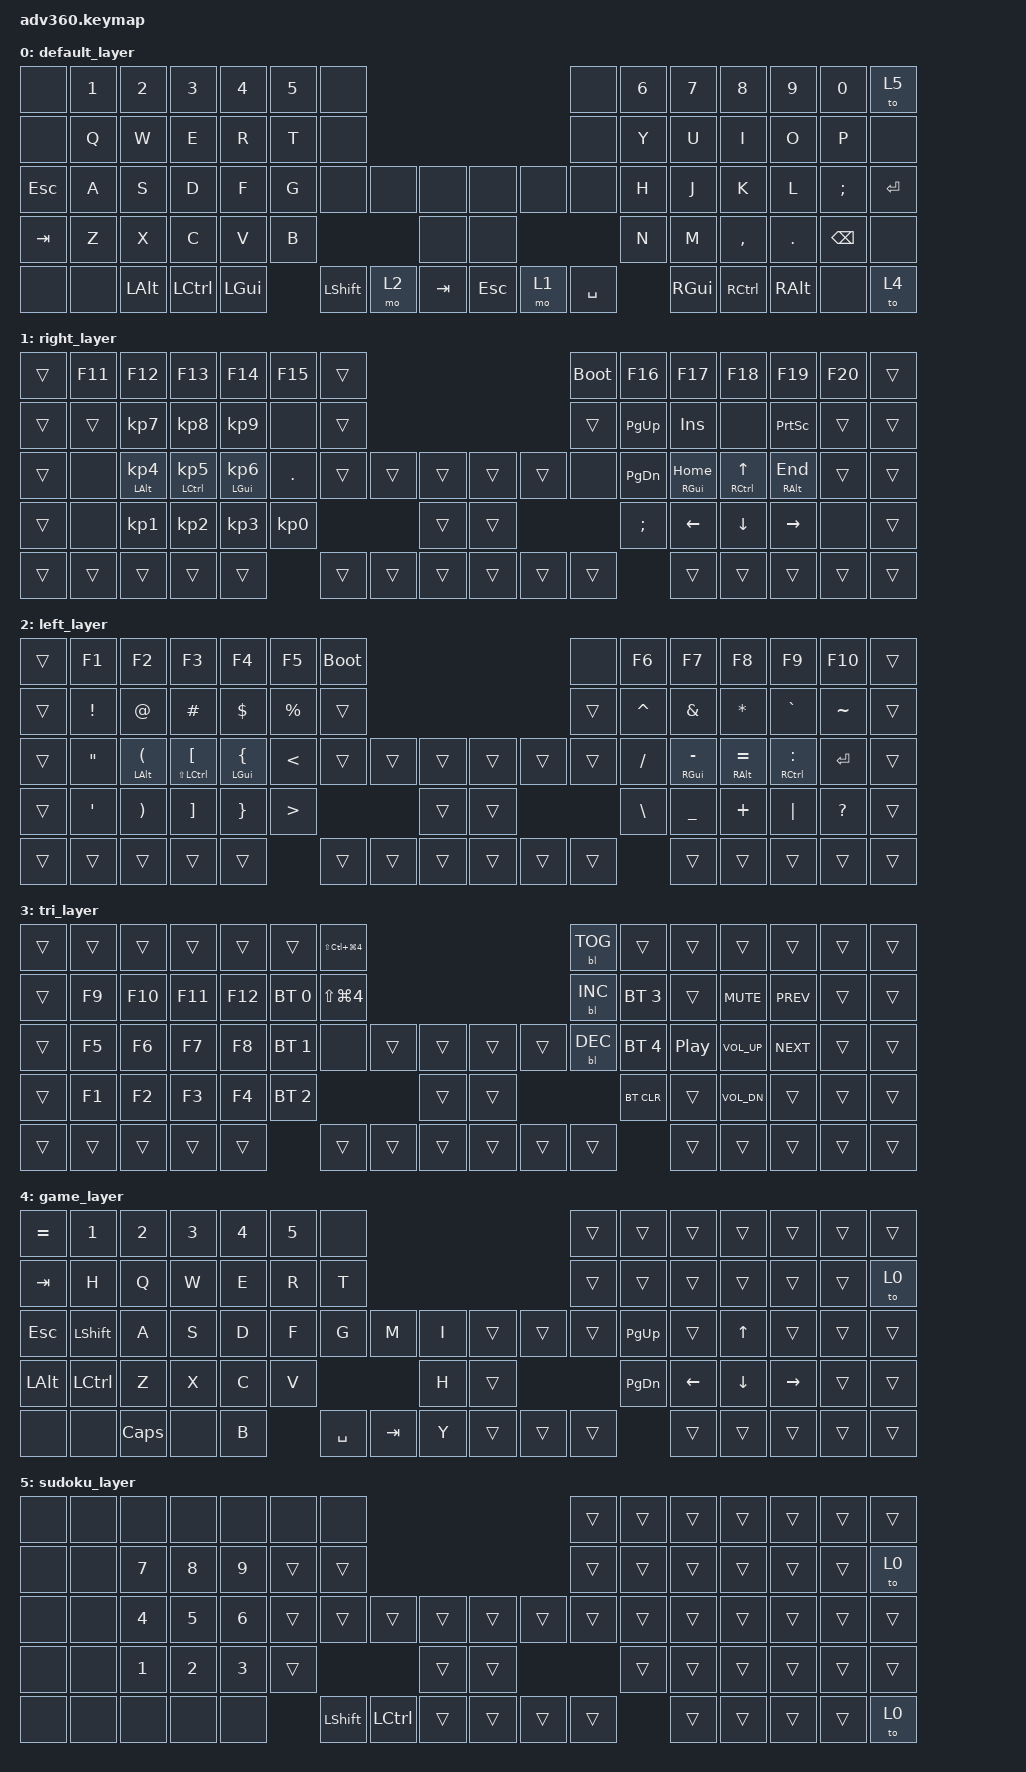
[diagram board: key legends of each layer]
#include <behaviors.dtsi>
#include <dt-bindings/zmk/backlight.h>
#include <dt-bindings/zmk/bt.h>
#include <dt-bindings/zmk/keys.h>

#define MAC 0
#define WIN 1
#define RIG 2
#define LEF 3
#define TRI 4
#define GME 5
#define SUD 6
#define MAC 0
#define WIN 1
#define RIG 2
#define LEF 3
#define TRI 4
#define GME 5

/ {
    behaviors {
        #include "macros.dtsi"
      #include "version.dtsi"
      #ifndef VERSION_MACRO

        macro_ver: macro_ver {
            compatible = "zmk,behavior-macro";
            label = "macro_version";
            #binding-cells = <0>;
            bindings = <&kp RET>;
        };

        #endif

        hmr: hmr {
            compatible = "zmk,behavior-hold-tap";
            label = "HMR";
            bindings = <&kp>, <&kp>;

            #binding-cells = <2>;
            tapping-term-ms = <750>;
            quick-tap-ms = <400>;
            flavor = "balanced";
            hold-trigger-key-positions = <0 1 2 3 4 5 6 14 15 16 17 18 19 20 28 29 30 31 32 33 34 35 36 46 47 48 49 50 51 52 60 61 62 63 64 65 66 67 37 38 53 68 69 70>;
            hold-trigger-on-release;
            require-prior-idle-ms = <125>;
        };

        hml: hml {
            compatible = "zmk,behavior-hold-tap";
            label = "HML";
            bindings = <&kp>, <&kp>;

            #binding-cells = <2>;
            tapping-term-ms = <750>;
            quick-tap-ms = <400>;
            flavor = "balanced";
            hold-trigger-key-positions = <7 8 9 10 11 12 13 21 22 23 24 25 26 27 38 39 40 41 42 43 44 45 54 55 56 57 58 59 69 70 71 72 73 74 75 35 36 37 38 52 53 66 67 68 69 65>;
            hold-trigger-on-release;
            require-prior-idle-ms = <125>;
        };
    };

    conditional_layers {
        compatible = "zmk,conditional-layers";

        tri_layer {
            if-layers = <2 1>;
            then-layer = <3>;
        };
    };

    macros {
    };

    keymap {
        compatible = "zmk,keymap";

        default_layer {
            bindings = <
&none       &kp N1  &kp N2        &kp N3            &kp N4        &kp N5  &none                                                  &none      &kp N6  &kp N7         &kp N8             &kp N9         &kp N0         &to 5
&none       &kp Q   &kp W         &kp E             &kp R         &kp T   &none                                                  &none      &kp Y   &kp U          &kp I              &kp O          &kp P          &none
&kp ESCAPE  &kp A   &kp S         &kp D             &kp F         &kp G   &none           &none  &none        &none       &none  &none      &kp H   &kp J          &kp K              &kp L          &kp SEMICOLON  &kp ENTER
&kp TAB     &kp Z   &kp X         &kp C             &kp V         &kp B                          &none        &none                         &kp N   &kp M          &kp COMMA          &kp DOT        &kp BACKSPACE  &none
&none       &none   &kp LEFT_ALT  &kp LEFT_CONTROL  &kp LEFT_GUI          &kp LEFT_SHIFT  &mo 2  &kp TAB      &kp ESCAPE  &mo 1  &kp SPACE          &kp RIGHT_GUI  &kp RIGHT_CONTROL  &kp RIGHT_ALT  &none          &to 4
            >;
        };

        right_layer {
            bindings = <
&trans  &kp F11  &kp F12                    &kp F13                        &kp F14                &kp F15          &trans                                      &bootloader  &kp F16        &kp F17         &kp F18                      &kp F19             &kp F20  &trans
&trans  &trans   &kp KP_NUMBER_7            &kp KP_NUMBER_8                &kp KP_NUMBER_9        &none            &trans                                      &trans       &kp PG_UP      &kp INSERT      &none                        &kp PRINTSCREEN     &trans   &trans
&trans  &none    &hml LEFT_ALT KP_NUMBER_4  &hml LEFT_CONTROL KP_NUMBER_5  &hml LGUI KP_NUMBER_6  &kp PERIOD       &trans  &trans  &trans      &trans  &trans  &none        &kp PG_DN      &hmr RGUI HOME  &hmr RIGHT_CONTROL UP_ARROW  &hmr RIGHT_ALT END  &trans   &trans
&trans  &none    &kp KP_NUMBER_1            &kp KP_NUMBER_2                &kp KP_NUMBER_3        &kp KP_NUMBER_0                  &trans      &trans                       &kp SEMICOLON  &kp LEFT_ARROW  &kp DOWN_ARROW               &kp RIGHT_ARROW     &none    &trans
&trans  &trans   &trans                     &trans                         &trans                                  &trans  &trans  &trans      &trans  &trans  &trans                      &trans          &trans                       &trans              &trans   &trans
            >;
        };

        left_layer {
            bindings = <
&trans  &kp F1             &kp F2                          &kp F3                              &kp F4                &kp F5     &bootloader                                      &none   &kp F6     &kp F7           &kp F8                &kp F9                    &kp F10    &trans
&trans  &kp EXCL           &kp AT                          &kp HASH                            &kp DLLR              &kp PRCNT  &trans                                           &trans  &kp CARET  &kp AMPS         &kp ASTRK             &kp GRAVE                 &kp TILDE  &trans
&trans  &kp DOUBLE_QUOTES  &hml LEFT_ALT LEFT_PARENTHESIS  &hml LS(LEFT_CONTROL) LEFT_BRACKET  &hml LGUI LEFT_BRACE  &kp LT     &trans       &trans  &trans      &trans  &trans  &trans  &kp FSLH   &hmr RGUI MINUS  &hmr RIGHT_ALT EQUAL  &hmr RIGHT_CONTROL COLON  &kp ENTER  &trans
&trans  &kp SQT            &kp RIGHT_PARENTHESIS           &kp RIGHT_BRACKET                   &kp RIGHT_BRACE       &kp GT                          &trans      &trans                  &kp BSLH   &kp UNDER        &kp PLUS              &kp PIPE                  &kp QMARK  &trans
&trans  &trans             &trans                          &trans                              &trans                           &trans       &trans  &trans      &trans  &trans  &trans             &trans           &trans                &trans                    &trans     &trans
            >;
        };

        tri_layer {
            bindings = <
&trans  &trans  &trans   &trans   &trans   &trans        &kp LS(LC(LG(N4)))                                      &bl BL_TOG  &trans        &trans            &trans           &trans      &trans  &trans
&trans  &kp F9  &kp F10  &kp F11  &kp F12  &bt BT_SEL 0  &kp LS(LG(N4))                                          &bl BL_INC  &bt BT_SEL 3  &trans            &kp K_MUTE       &kp C_PREV  &trans  &trans
&trans  &kp F5  &kp F6   &kp F7   &kp F8   &bt BT_SEL 1  &none               &trans  &trans      &trans  &trans  &bl BL_DEC  &bt BT_SEL 4  &kp C_PLAY_PAUSE  &kp C_VOLUME_UP  &kp C_NEXT  &trans  &trans
&trans  &kp F1  &kp F2   &kp F3   &kp F4   &bt BT_SEL 2                              &trans      &trans                      &bt BT_CLR    &trans            &kp C_VOL_DN     &trans      &trans  &trans
&trans  &trans  &trans   &trans   &trans                 &trans              &trans  &trans      &trans  &trans  &trans                    &trans            &trans           &trans      &trans  &trans
            >;
        };

        game_layer {
            bindings = <
&kp EQUAL  &kp N1      &kp N2    &kp N3  &kp N4  &kp N5  &none                                          &trans  &trans         &trans    &trans          &trans           &trans  &trans
&kp TAB    &kp H       &kp Q     &kp W   &kp E   &kp R   &kp T                                          &trans  &trans         &trans    &trans          &trans           &trans  &to 0
&kp ESC    &kp LSHIFT  &kp A     &kp S   &kp D   &kp F   &kp G      &kp M    &kp I      &trans  &trans  &trans  &kp PAGE_UP    &trans    &kp UP_ARROW    &trans           &trans  &trans
&kp LALT   &kp LCTRL   &kp Z     &kp X   &kp C   &kp V                       &kp H      &trans                  &kp PAGE_DOWN  &kp LEFT  &kp DOWN_ARROW  &kp RIGHT_ARROW  &trans  &trans
&none      &none       &kp CAPS  &none   &kp B           &kp SPACE  &kp TAB  &kp Y      &trans  &trans  &trans                 &trans    &trans          &trans           &trans  &trans
            >;
        };

        sudoku_layer {
            bindings = <
&none  &none  &none   &none   &none   &none   &none                                             &trans  &trans  &trans  &trans  &trans  &trans  &trans
&none  &none  &kp N7  &kp N8  &kp N9  &trans  &trans                                            &trans  &trans  &trans  &trans  &trans  &trans  &to 0
&none  &none  &kp N4  &kp N5  &kp N6  &trans  &trans     &trans     &trans      &trans  &trans  &trans  &trans  &trans  &trans  &trans  &trans  &trans
&none  &none  &kp N1  &kp N2  &kp N3  &trans                        &trans      &trans                  &trans  &trans  &trans  &trans  &trans  &trans
&none  &none  &none   &none   &none           &kp LSHFT  &kp LCTRL  &trans      &trans  &trans  &trans          &trans  &trans  &trans  &trans  &to 0
            >;
        };
    };
};
